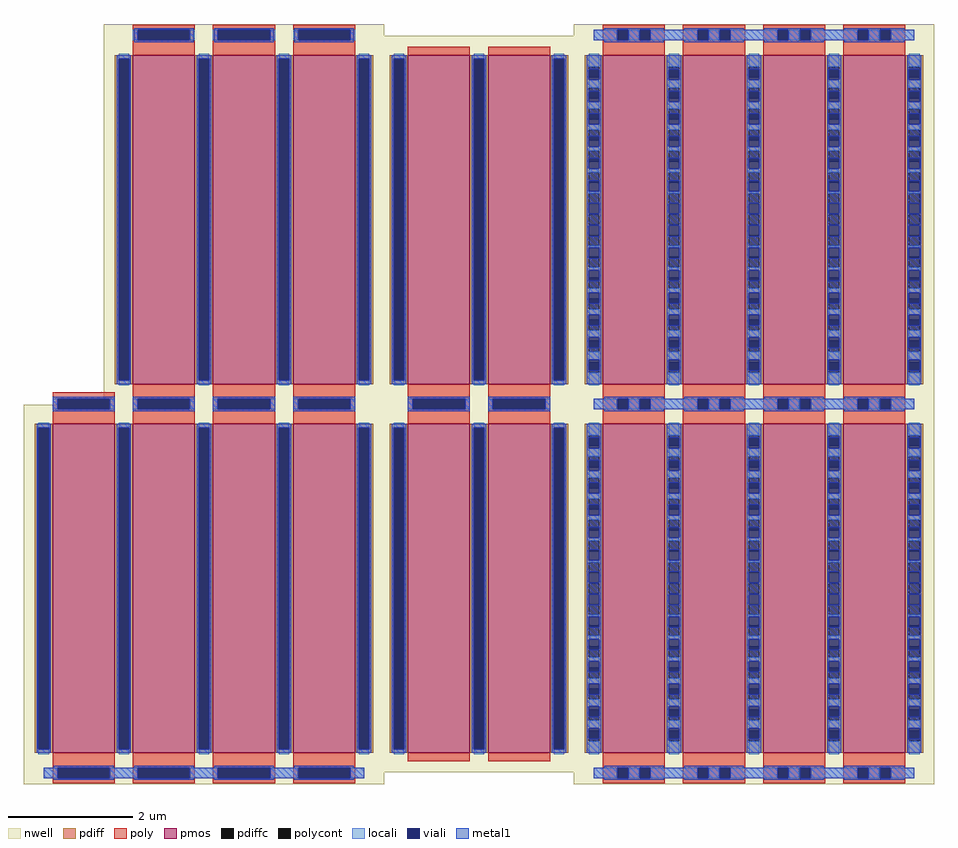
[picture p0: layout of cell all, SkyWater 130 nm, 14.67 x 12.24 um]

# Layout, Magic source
magic
tech sky130A
magscale 1 2
<< nwell >>
rect -1514 1222 0 1226
<< pdiffc >>
rect -580 1300 -546 2336
rect -322 1300 -288 2336
rect -64 1300 -30 2336
rect -580 112 -546 1148
rect -322 112 -288 1148
rect -64 112 -30 1148
<< poly >>
rect -1678 1241 -1478 1262
rect -1678 1207 -1662 1241
rect -1494 1207 -1478 1241
rect -1678 1186 -1478 1207
rect -1420 1241 -1220 1262
rect -1420 1207 -1404 1241
rect -1236 1207 -1220 1241
rect -1420 1186 -1220 1207
rect -1162 1241 -962 1262
rect -1162 1207 -1146 1241
rect -978 1207 -962 1241
rect -1162 1186 -962 1207
rect -904 1241 -704 1262
rect -904 1207 -888 1241
rect -720 1207 -704 1241
rect -904 1186 -704 1207
rect -534 1241 -334 1262
rect -534 1207 -518 1241
rect -350 1207 -334 1241
rect -534 1186 -334 1207
rect -276 1241 -76 1262
rect -276 1207 -260 1241
rect -92 1207 -76 1241
rect -276 1186 -76 1207
<< polycont >>
rect -1662 1207 -1494 1241
rect -1404 1207 -1236 1241
rect -1146 1207 -978 1241
rect -888 1207 -720 1241
rect -518 1207 -350 1241
rect -260 1207 -92 1241
<< locali >>
rect -580 2336 -546 2352
rect -580 1284 -546 1300
rect -322 2336 -288 2352
rect -322 1284 -288 1300
rect -64 2336 -30 2352
rect -64 1284 -30 1300
rect -1678 1207 -1662 1241
rect -1494 1207 -1478 1241
rect -1420 1207 -1404 1241
rect -1236 1207 -1220 1241
rect -1162 1207 -1146 1241
rect -978 1207 -962 1241
rect -904 1207 -888 1241
rect -720 1207 -704 1241
rect -534 1207 -518 1241
rect -350 1207 -334 1241
rect -276 1207 -260 1241
rect -92 1207 -76 1241
rect -580 1148 -546 1164
rect -580 96 -546 112
rect -322 1148 -288 1164
rect -322 96 -288 112
rect -64 1148 -30 1164
rect -64 96 -30 112
<< viali >>
rect -580 1300 -546 2336
rect -322 1300 -288 2336
rect -64 1300 -30 2336
rect -1662 1207 -1494 1241
rect -1404 1207 -1236 1241
rect -1146 1207 -978 1241
rect -888 1207 -720 1241
rect -518 1207 -350 1241
rect -260 1207 -92 1241
rect -580 112 -546 1148
rect -322 112 -288 1148
rect -64 112 -30 1148
<< metal1 >>
rect -586 2336 -540 2348
rect -586 1300 -580 2336
rect -546 1300 -540 2336
rect -586 1288 -540 1300
rect -328 2336 -282 2348
rect -328 1300 -322 2336
rect -288 1300 -282 2336
rect -328 1288 -282 1300
rect -70 2336 -24 2348
rect -70 1300 -64 2336
rect -30 1300 -24 2336
rect -70 1288 -24 1300
rect -1678 1241 -1478 1247
rect -1678 1207 -1662 1241
rect -1494 1207 -1478 1241
rect -1678 1201 -1478 1207
rect -1420 1241 -1220 1247
rect -1420 1207 -1404 1241
rect -1236 1207 -1220 1241
rect -1420 1201 -1220 1207
rect -1162 1241 -962 1247
rect -1162 1207 -1146 1241
rect -978 1207 -962 1241
rect -1162 1201 -962 1207
rect -904 1241 -704 1247
rect -904 1207 -888 1241
rect -720 1207 -704 1241
rect -904 1201 -704 1207
rect -534 1241 -334 1247
rect -534 1207 -518 1241
rect -350 1207 -334 1241
rect -534 1201 -334 1207
rect -276 1241 -76 1247
rect -276 1207 -260 1241
rect -92 1207 -76 1241
rect -276 1201 -76 1207
rect -586 1148 -540 1160
rect -586 112 -580 1148
rect -546 112 -540 1148
rect -586 100 -540 112
rect -328 1148 -282 1160
rect -328 112 -322 1148
rect -288 112 -282 1148
rect -328 100 -282 112
rect -70 1148 -24 1160
rect -70 112 -64 1148
rect -30 112 -24 1148
rect -70 100 -24 112
use sky130_fd_pr__pfet_01v8_ENDSM8  M6
transform 1 0 -434 0 1 630
box -194 -592 194 592
use sky130_fd_pr__pfet_01v8_ENDSM8  M8
transform 1 0 -176 0 1 630
box -194 -592 194 592
use sky130_fd_pr__pfet_01v8_ENDSM8  MR1
transform 1 0 -434 0 1 1818
box -194 -592 194 592
use sky130_fd_pr__pfet_01v8_ENDSM8  MR2
transform 1 0 -176 0 1 1818
box -194 -592 194 592
use sky130_fd_pr__pfet_01v8_9KVHJQ  sky130_fd_pr__pfet_01v8_9KVHJQ_0
transform 1 0 581 0 1 1224
box -581 -1224 581 1224
use sky130_fd_pr__pfet_01v8_32X93E  sky130_fd_pr__pfet_01v8_32X93E_0
transform 1 0 -1191 0 1 594
box -581 -594 581 628
use sky130_fd_pr__pfet_01v8_AJHM27  sky130_fd_pr__pfet_01v8_AJHM27_0
transform 1 0 -1062 0 1 1854
box -452 -628 452 594
<< end >>

# cell sky130_fd_pr__pfet_01v8_ENDSM8: kit device sky130_fd_pr__pfet_01v8, w 5.3 l 1 m 1 nf 1 diffcov 100 polycov 100 guard 0 glc 0 grc 0 gtc 0 gbc 0 tbcov 100 rlcov 100 topc 0 botc 0 poverlap 0 doverlap 1 lmin 0.15 wmin 0.42 class mosfet compatible {sky130_fd_pr__pfet_01v8 sky130_fd_pr__pfet_01v8_lvt sky130_fd_pr__pfet_01v8_hvt sky130_fd_pr__pfet_g5v0d10v5} full_metal 0 conn_gates 0 viasrc 100 viadrn 100 viagate 100 viagb 0 viagr 0 viagl 0 viagt 0 doports 1

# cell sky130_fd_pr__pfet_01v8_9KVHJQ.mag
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
# cell sky130_fd_pr__pfet_01v8_32X93E: kit device sky130_fd_pr__pfet_01v8, w 5.3 l 1 m 1 nf 4 diffcov 100 polycov 100 guard 0 glc 0 grc 0 gtc 0 gbc 0 tbcov 100 rlcov 100 topc 0 botc 1 poverlap 0 doverlap 1 lmin 0.15 wmin 0.42 class mosfet compatible {sky130_fd_pr__pfet_01v8 sky130_fd_pr__pfet_01v8_lvt sky130_fd_pr__pfet_01v8_hvt sky130_fd_pr__pfet_g5v0d10v5} full_metal 0 conn_gates 1 viasrc 100 viadrn 100 viagate 100 viagb 0 viagr 0 viagl 0 viagt 0 doports 1

# cell sky130_fd_pr__pfet_01v8_AJHM27: kit device sky130_fd_pr__pfet_01v8, w 5.3 l 1 m 1 nf 3 diffcov 100 polycov 100 guard 0 glc 0 grc 0 gtc 0 gbc 0 tbcov 100 rlcov 100 topc 1 botc 0 poverlap 0 doverlap 1 lmin 0.15 wmin 0.42 class mosfet compatible {sky130_fd_pr__pfet_01v8 sky130_fd_pr__pfet_01v8_lvt sky130_fd_pr__pfet_01v8_hvt sky130_fd_pr__pfet_g5v0d10v5} full_metal 0 conn_gates 0 viasrc 100 viadrn 100 viagate 100 viagb 0 viagr 0 viagl 0 viagt 0 doports 1
